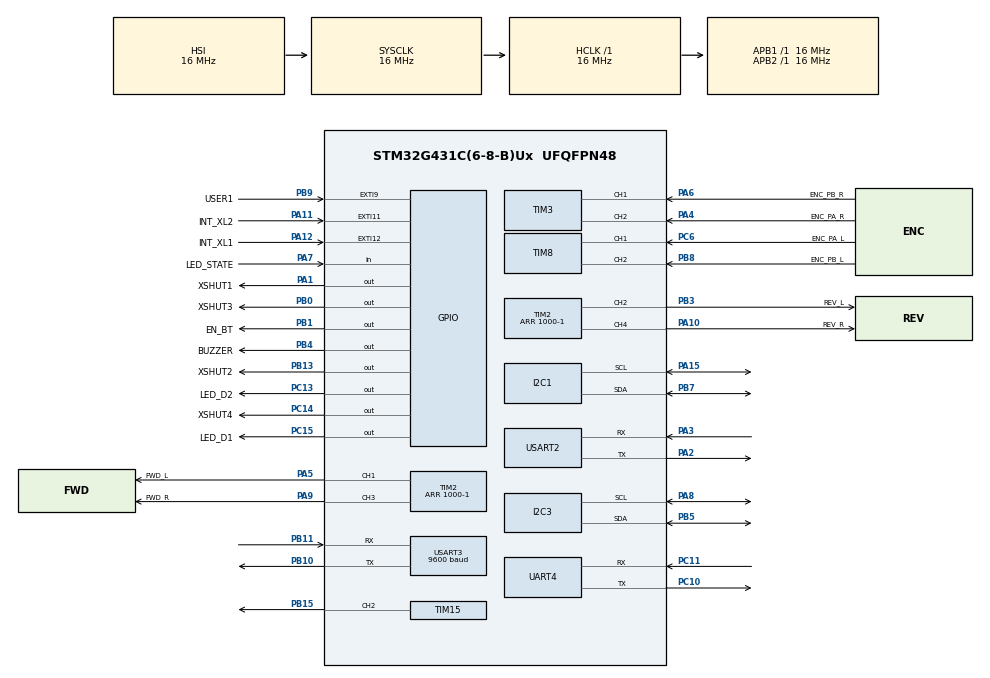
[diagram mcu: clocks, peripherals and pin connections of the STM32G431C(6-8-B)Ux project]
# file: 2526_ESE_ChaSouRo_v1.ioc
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Dma.I2C1_TX.1.Direction=DMA_MEMORY_TO_PERIPH
Dma.I2C1_TX.1.EventEnable=DISABLE
Dma.I2C1_TX.1.Instance=DMA1_Channel2
Dma.I2C1_TX.1.MemDataAlignment=DMA_MDATAALIGN_BYTE
Dma.I2C1_TX.1.MemInc=DMA_MINC_ENABLE
Dma.I2C1_TX.1.Mode=DMA_NORMAL
Dma.I2C1_TX.1.PeriphDataAlignment=DMA_PDATAALIGN_BYTE
Dma.I2C1_TX.1.PeriphInc=DMA_PINC_DISABLE
Dma.I2C1_TX.1.Polarity=HAL_DMAMUX_REQ_GEN_RISING
Dma.I2C1_TX.1.Priority=DMA_PRIORITY_LOW
Dma.I2C1_TX.1.RequestNumber=1
Dma.I2C1_TX.1.SignalID=NONE
Dma.I2C1_TX.1.SyncEnable=DISABLE
Dma.I2C1_TX.1.SyncPolarity=HAL_DMAMUX_SYNC_NO_EVENT
Dma.I2C1_TX.1.SyncRequestNumber=1
Dma.I2C1_TX.1.SyncSignalID=NONE
Dma.Request0=USART2_RX
Dma.Request1=I2C1_TX
Dma.Request2=USART3_TX
Dma.USART2_RX.0.Direction=DMA_PERIPH_TO_MEMORY
Dma.USART2_RX.0.EventEnable=DISABLE
Dma.USART2_RX.0.Instance=DMA1_Channel3
Dma.USART2_RX.0.MemDataAlignment=DMA_MDATAALIGN_BYTE
Dma.USART2_RX.0.MemInc=DMA_MINC_ENABLE
Dma.USART2_RX.0.Mode=DMA_CIRCULAR
Dma.USART2_RX.0.PeriphDataAlignment=DMA_PDATAALIGN_BYTE
Dma.USART2_RX.0.PeriphInc=DMA_PINC_DISABLE
Dma.USART2_RX.0.Polarity=HAL_DMAMUX_REQ_GEN_RISING
Dma.USART2_RX.0.Priority=DMA_PRIORITY_LOW
Dma.USART2_RX.0.RequestNumber=1
Dma.USART2_RX.0.SignalID=NONE
Dma.USART2_RX.0.SyncEnable=DISABLE
Dma.USART2_RX.0.SyncPolarity=HAL_DMAMUX_SYNC_NO_EVENT
Dma.USART2_RX.0.SyncRequestNumber=1
Dma.USART2_RX.0.SyncSignalID=NONE
Dma.USART3_TX.2.Direction=DMA_MEMORY_TO_PERIPH
Dma.USART3_TX.2.EventEnable=DISABLE
Dma.USART3_TX.2.Instance=DMA1_Channel1
Dma.USART3_TX.2.MemDataAlignment=DMA_MDATAALIGN_BYTE
Dma.USART3_TX.2.MemInc=DMA_MINC_ENABLE
Dma.USART3_TX.2.Mode=DMA_CIRCULAR
Dma.USART3_TX.2.PeriphDataAlignment=DMA_PDATAALIGN_BYTE
Dma.USART3_TX.2.PeriphInc=DMA_PINC_DISABLE
Dma.USART3_TX.2.Polarity=HAL_DMAMUX_REQ_GEN_RISING
Dma.USART3_TX.2.Priority=DMA_PRIORITY_LOW
Dma.USART3_TX.2.RequestNumber=1
Dma.USART3_TX.2.SignalID=NONE
Dma.USART3_TX.2.SyncEnable=DISABLE
Dma.USART3_TX.2.SyncPolarity=HAL_DMAMUX_SYNC_NO_EVENT
Dma.USART3_TX.2.SyncRequestNumber=1
Dma.USART3_TX.2.SyncSignalID=NONE
FREERTOS.INCLUDE_uxTaskGetStackHighWaterMark=1
FREERTOS.INCLUDE_uxTaskGetStackHighWaterMark2=1
FREERTOS.INCLUDE_vTaskDelayUntil=1
FREERTOS.Tasks01=defaultTask,0,128,StartDefaultTask,Default,NULL,Dynamic,NULL,NULL
FREERTOS.configCHECK_FOR_STACK_OVERFLOW=2
FREERTOS.configGENERATE_RUN_TIME_STATS=1
FREERTOS.configRECORD_STACK_HIGH_ADDRESS=1
FREERTOS.configTOTAL_HEAP_SIZE=25000
FREERTOS.configUSE_MALLOC_FAILED_HOOK=1
FREERTOS.configUSE_NEWLIB_REENTRANT=1
FREERTOS.configUSE_STATS_FORMATTING_FUNCTIONS=1
FREERTOS.configUSE_TRACE_FACILITY=1
I2C1.Timing=0x00503D58
I2C3.Timing=0x00503D58
Mcu.Family=STM32G4
Mcu.Name=STM32G431C(6-8-B)Ux
Mcu.Package=UFQFPN48
NVIC.DMA1_Channel1_IRQn=true\:5\:0\:false\:false\:true\:true\:false\:true\:true
NVIC.DMA1_Channel2_IRQn=true\:5\:0\:false\:false\:true\:true\:false\:true\:true
NVIC.DMA1_Channel3_IRQn=true\:5\:0\:false\:false\:true\:true\:false\:true\:true
NVIC.EXTI9_5_IRQn=true\:5\:0\:false\:false\:true\:true\:true\:true\:true
NVIC.PriorityGroup=NVIC_PRIORITYGROUP_4
NVIC.TIM1_TRG_COM_TIM17_IRQn=true\:5\:0\:true\:false\:true\:true\:true\:true\:true
NVIC.TIM6_DAC_IRQn=true\:15\:0\:true\:false\:true\:false\:false\:true\:true
NVIC.TimeBase=TIM6_DAC_IRQn
NVIC.TimeBaseIP=TIM6
NVIC.USART2_IRQn=true\:5\:0\:false\:false\:true\:true\:true\:true\:true
NVIC.USART3_IRQn=true\:5\:0\:false\:false\:true\:true\:true\:true\:true
PA1.GPIO_Label=XSHUT1
PA1.PinState=GPIO_PIN_SET
PA1.Signal=GPIO_Output
PA10.GPIO_Label=REV_R
PA10.Signal=S_TIM2_CH4
PA11.GPIO_Label=INT_XL2
PA11.Signal=GPXTI11
PA12.GPIO_Label=INT_XL1
PA12.Signal=GPXTI12
PA13.Mode=Serial_Wire
PA13.Signal=SYS_JTMS-SWDIO
PA14.Mode=Serial_Wire
PA14.Signal=SYS_JTCK-SWCLK
PA15.Mode=I2C
PA15.Signal=I2C1_SCL
PA2.Mode=Asynchronous
PA2.Signal=USART2_TX
PA3.Mode=Asynchronous
PA3.Signal=USART2_RX
PA4.GPIO_Label=ENC_PA_R
PA4.Signal=S_TIM3_CH2
PA5.GPIO_Label=FWD_L
PA5.Signal=S_TIM2_CH1
PA6.GPIO_Label=ENC_PB_R
PA6.Signal=S_TIM3_CH1
PA7.GPIO_Label=LED_STATE
PA7.Signal=GPIO_Input
PA8.Mode=I2C
PA8.Signal=I2C3_SCL
PA9.GPIO_Label=FWD_R
PA9.Signal=S_TIM2_CH3
PB0.GPIO_Label=XSHUT3
PB0.GPIO_PuPd=GPIO_PULLUP
PB0.PinState=GPIO_PIN_SET
PB0.Signal=GPIO_Output
PB1.GPIO_Label=EN_BT
PB1.Signal=GPIO_Output
PB10.Mode=Asynchronous
PB10.Signal=USART3_TX
PB11.Mode=Asynchronous
PB11.Signal=USART3_RX
PB13.GPIO_Label=XSHUT2
PB13.GPIO_PuPd=GPIO_PULLUP
PB13.PinState=GPIO_PIN_SET
PB13.Signal=GPIO_Output
PB15.Signal=S_TIM15_CH2
PB3.GPIO_Label=REV_L
PB3.Signal=S_TIM2_CH2
PB4.GPIO_Label=BUZZER
PB4.Signal=GPIO_Output
PB5.Mode=I2C
PB5.Signal=I2C3_SDA
PB7.Mode=I2C
PB7.Signal=I2C1_SDA
PB8-BOOT0.GPIO_Label=ENC_PB_L
PB8-BOOT0.Signal=S_TIM8_CH2
PB9.GPIO_Label=USER1
PB9.GPIO_ModeDefaultEXTI=GPIO_MODE_IT_FALLING
PB9.GPIO_PuPd=GPIO_NOPULL
PB9.Signal=GPXTI9
PC10.Mode=Asynchronous
PC10.Signal=UART4_TX
PC11.Mode=Asynchronous
PC11.Signal=UART4_RX
PC13.GPIO_Label=LED_D2
PC13.Signal=GPIO_Output
PC14-OSC32_IN.GPIO_Label=XSHUT4
PC14-OSC32_IN.GPIO_PuPd=GPIO_PULLUP
PC14-OSC32_IN.PinState=GPIO_PIN_SET
PC14-OSC32_IN.Signal=GPIO_Output
PC15-OSC32_OUT.GPIO_Label=LED_D1
PC15-OSC32_OUT.Signal=GPIO_Output
PC6.GPIO_Label=ENC_PA_L
PC6.Signal=S_TIM8_CH1
PF0-OSC_IN.Mode=HSE-External-Oscillator
PF0-OSC_IN.Signal=RCC_OSC_IN
PF1-OSC_OUT.Mode=HSE-External-Oscillator
PF1-OSC_OUT.Signal=RCC_OSC_OUT
ProjectManager.HeapSize=0x200
ProjectManager.StackSize=0x400
ProjectManager.TargetToolchain=STM32CubeIDE
RCC.AHBFreq_Value=16000000
RCC.APB1Freq_Value=16000000
RCC.APB1TimFreq_Value=16000000
RCC.APB2Freq_Value=16000000
RCC.APB2TimFreq_Value=16000000
RCC.CortexFreq_Value=16000000
RCC.EXTERNAL_CLOCK_VALUE=12288000
RCC.HCLKFreq_Value=16000000
RCC.HSE_VALUE=8000000
RCC.HSI48_VALUE=48000000
RCC.HSI_VALUE=16000000
RCC.LSE_VALUE=32768
RCC.SYSCLKFreq_VALUE=16000000
RCC.USBFreq_Value=64000000
RCC.VCOOutputFreq_Value=128000000
SH.S_TIM15_CH2.0=TIM15_CH2,PWM Generation2 CH2
SH.S_TIM2_CH1.0=TIM2_CH1,PWM Generation1 CH1
SH.S_TIM2_CH2.0=TIM2_CH2,PWM Generation2 CH2
SH.S_TIM2_CH3.0=TIM2_CH3,PWM Generation3 CH3
SH.S_TIM2_CH4.0=TIM2_CH4,PWM Generation4 CH4
SH.S_TIM3_CH1.0=TIM3_CH1,Encoder_Interface
SH.S_TIM3_CH2.0=TIM3_CH2,Encoder_Interface
SH.S_TIM8_CH1.0=TIM8_CH1,Encoder_Interface
SH.S_TIM8_CH2.0=TIM8_CH2,Encoder_Interface
TIM15.Channel-PWM\ Generation2\ CH2=TIM_CHANNEL_2
TIM15.PeriodNoDither=100-1
TIM15.Prescaler=160-1
TIM17.PeriodNoDither=10000-1
TIM17.Prescaler=160-1
TIM2.Channel-PWM\ Generation1\ CH1=TIM_CHANNEL_1
TIM2.Channel-PWM\ Generation2\ CH2=TIM_CHANNEL_2
TIM2.Channel-PWM\ Generation3\ CH3=TIM_CHANNEL_3
TIM2.Channel-PWM\ Generation4\ CH4=TIM_CHANNEL_4
TIM2.PeriodNoDither=1000-1
USART2.VirtualMode-Asynchronous=VM_ASYNC
USART3.BaudRate=9600
USART3.VirtualMode-Asynchronous=VM_ASYNC
VP_FREERTOS_VS_CMSIS_V1.Mode=CMSIS_V1
VP_SYS_VS_DBSignals.Mode=DisableDeadBatterySignals
VP_SYS_VS_tim6.Mode=TIM6
VP_TIM16_VS_ClockSourceINT.Mode=Enable_Timer
VP_TIM17_VS_ClockSourceINT.Mode=Enable_Timer
board=custom

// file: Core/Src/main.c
/* USER CODE BEGIN Header */
/**
 ******************************************************************************
 * @file           : main.c
 * @brief          : Main program body
 ******************************************************************************
 * @attention
 *
 * Copyright (c) 2025 STMicroelectronics.
 * All rights reserved.
 *
 * This software is licensed under terms that can be found in the LICENSE file
 * in the root directory of this software component.
 * If no LICENSE file comes with this software, it is provided AS-IS.
 *
 ******************************************************************************
 */
/* USER CODE END Header */
#include "main.h"
#include "cmsis_os.h"
#include "dma.h"
#include "i2c.h"
#include "tim.h"
#include "usart.h"
#include "gpio.h"

/* USER CODE BEGIN Includes */
#include <stdio.h>
#include "actuators/motor.h"
#include "actuators/encoder.h"
#include "ssd1306.h"
#include "ssd1306_fonts.h"
#include "sensors/accelerometer.h"
#include "actuators/control.h"
#include "actuators/behavior.h"
#include "sensors/tofs.h"
#include "bluetooth/bluetooth.h"
#include "sensors/lidar.h"
//#include "oled.h"
/* USER CODE END Includes */

/* USER CODE BEGIN PTD */
ADXL345_HandleTypeDef hadxl;
/* USER CODE END PTD */

/* USER CODE BEGIN PV */
h_hc05_t h_hc05 =
{
		.huart = &huart3
};
/* USER CODE END PV */

void SystemClock_Config(void);
void MX_FREERTOS_Init(void);

/* USER CODE BEGIN 0 */
//TERMINAL
int __io_putchar(int chr)
{
	HAL_UART_Transmit(&huart4, (uint8_t*) &chr, 1, HAL_MAX_DELAY);
	return chr;
}

//ANTI-REBOND
bool debounce_check(uint32_t *lastTick, TickType_t delay_ms)
{
	TickType_t now = xTaskGetTickCountFromISR();

	if ((now - *lastTick) < pdMS_TO_TICKS(delay_ms))
	{
		return false; // rebond, ignorer
	}
	*lastTick = now;
	return true; // action validée
}

//PROTECTION MEMOIRE
void vApplicationMallocFailedHook(void)
{
	printf("Malloc failed !\r\n"); //n'arrive pas à créé une task (pas de place)
	taskDISABLE_INTERRUPTS();
	for( ;; );
}

//PROTECTION MEMOIRE
void vApplicationStackOverflowHook(TaskHandle_t xTask, char *pcTaskName)
{
	printf("Stack overflow in task %s\r\n", pcTaskName); //Stack overflow
	taskDISABLE_INTERRUPTS();
	for( ;; );
}
/* USER CODE END 0 */

int main(void)
{

  /* MCU Configuration--------------------------------------------------------*/

  /* Reset of all peripherals, Initializes the Flash interface and the Systick. */
  HAL_Init();

  /* Configure the system clock */
  SystemClock_Config();

  /* Initialize all configured peripherals */
  MX_GPIO_Init();
  MX_DMA_Init();
  MX_I2C1_Init();
  MX_I2C3_Init();
  MX_TIM2_Init();
  MX_TIM3_Init();
  MX_TIM8_Init();
  MX_UART4_Init();
  MX_USART2_UART_Init();
  MX_USART3_UART_Init();
  MX_TIM16_Init();
  MX_TIM15_Init();
  MX_TIM17_Init();
  /* USER CODE BEGIN 2 */
	//INITS
	Init_motors();
//	LIDAR_Init();
	TOFs_Init();
	ENC_Init();
	ADXL345_Init(&hadxl, &hi2c1);
	Control_Init();
//	OLED_Init();

	//CREATION DES TASKS
	TOFs_Tasks_Create();
	Control_Tasks_Create();
	Motors_Tasks_Create();
	LIDAR_Tasks_Create();
	ENC_Tasks_Create();
	ADXL345_StartTasks(&hadxl);
	behavior_Tasks_Create();
	HC05_Tasks_Create(&h_hc05);
//	OLED_Tasks_Create();

	//LANCE LE SCHEDULER
	vTaskStartScheduler();

  /* USER CODE END 2 */

  /* Call init function for freertos objects (in cmsis_os2.c) */
  MX_FREERTOS_Init();

  /* Start scheduler */
  osKernelStart();

  /* We should never get here as control is now taken by the scheduler */

  /* Infinite loop */
	while (1)
	{

	}
}

void SystemClock_Config(void)
{
  RCC_OscInitTypeDef RCC_OscInitStruct = {0};
  RCC_ClkInitTypeDef RCC_ClkInitStruct = {0};

  /** Configure the main internal regulator output voltage
  */
  HAL_PWREx_ControlVoltageScaling(PWR_REGULATOR_VOLTAGE_SCALE1);

  /** Initializes the RCC Oscillators according to the specified parameters
  * in the RCC_OscInitTypeDef structure.
  */
  RCC_OscInitStruct.OscillatorType = RCC_OSCILLATORTYPE_HSI;
  RCC_OscInitStruct.HSIState = RCC_HSI_ON;
  RCC_OscInitStruct.HSICalibrationValue = RCC_HSICALIBRATION_DEFAULT;
  RCC_OscInitStruct.PLL.PLLState = RCC_PLL_NONE;
  if (HAL_RCC_OscConfig(&RCC_OscInitStruct) != HAL_OK)
  {
    Error_Handler();
  }

  /** Initializes the CPU, AHB and APB buses clocks
  */
  RCC_ClkInitStruct.ClockType = RCC_CLOCKTYPE_HCLK|RCC_CLOCKTYPE_SYSCLK
                              |RCC_CLOCKTYPE_PCLK1|RCC_CLOCKTYPE_PCLK2;
  RCC_ClkInitStruct.SYSCLKSource = RCC_SYSCLKSOURCE_HSI;
  RCC_ClkInitStruct.AHBCLKDivider = RCC_SYSCLK_DIV1;
  RCC_ClkInitStruct.APB1CLKDivider = RCC_HCLK_DIV1;
  RCC_ClkInitStruct.APB2CLKDivider = RCC_HCLK_DIV1;

  if (HAL_RCC_ClockConfig(&RCC_ClkInitStruct, FLASH_LATENCY_0) != HAL_OK)
  {
    Error_Handler();
  }
}

/* USER CODE BEGIN 4 */
//void HAL_GPIO_EXTI_Callback(uint16_t GPIO_Pin)
//{
//    static TickType_t lastTickUser1 = 0;
//    static uint8_t toggle = 1;
//
//    if (GPIO_Pin == USER1_Pin)
//    {
//        if (!debounce_check(&lastTickUser1, 200))
//            return; // Ignorer rebond
//        if(toggle){
//        	Control_MoveDistanceFromISR(1000);
//			toggle = 0;
//        }
//    }
//}

void HAL_UART_RxHalfCpltCallback(UART_HandleTypeDef *huart)
{
	BaseType_t xHigherPriorityTaskWoken = pdFALSE;

	if (huart == &LID_huartx)
	{
		vTaskNotifyGiveFromISR(htask_LIDAR_Update, &xHigherPriorityTaskWoken);
		portYIELD_FROM_ISR(xHigherPriorityTaskWoken);
	}
}

void HAL_UART_RxCpltCallback(UART_HandleTypeDef *huart)
{
	BaseType_t xHigherPriorityTaskWoken = pdFALSE;

	if (huart == &LID_huartx)
	{
		vTaskNotifyGiveFromISR(htask_LIDAR_Update, &xHigherPriorityTaskWoken);
		portYIELD_FROM_ISR(xHigherPriorityTaskWoken);
	}
	if (huart->Instance==USART3)
	{
		hc05_RX_callback(&h_hc05);
	}
}

/* USER CODE END 4 */

void HAL_TIM_PeriodElapsedCallback(TIM_HandleTypeDef *htim)
{
  if (htim->Instance == TIM6)
  {
    HAL_IncTick();
  }
  /* USER CODE BEGIN Callback 1 */

	//CODE DES CALLBACKS
	enc_HAL_TIM_PeriodElapsedCallback(htim);
  /* USER CODE END Callback 1 */
}

void Error_Handler(void)
{
  /* USER CODE BEGIN Error_Handler_Debug */
	/* User can add his own implementation to report the HAL error return state */
	__disable_irq();
	while (1)
	{
		HAL_GPIO_WritePin(GPIOC, LED_D1_Pin, GPIO_PIN_SET);
		HAL_GPIO_WritePin(GPIOC, LED_D2_Pin, GPIO_PIN_SET);
	}
  /* USER CODE END Error_Handler_Debug */
}

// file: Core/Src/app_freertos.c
/* USER CODE BEGIN Header */
/**
 ******************************************************************************
 * File Name          : app_freertos.c
 * Description        : Code for freertos applications
 ******************************************************************************
 * @attention
 *
 * Copyright (c) 2025 STMicroelectronics.
 * All rights reserved.
 *
 * This software is licensed under terms that can be found in the LICENSE file
 * in the root directory of this software component.
 * If no LICENSE file comes with this software, it is provided AS-IS.
 *
 ******************************************************************************
 */
/* USER CODE END Header */

#include "FreeRTOS.h"
#include "task.h"
#include "main.h"
#include "cmsis_os.h"

osThreadId defaultTaskHandle;

void StartDefaultTask(void const * argument);

void MX_FREERTOS_Init(void); /* (MISRA C 2004 rule 8.1) */

/* Hook prototypes */
void configureTimerForRunTimeStats(void);
unsigned long getRunTimeCounterValue(void);
void vApplicationStackOverflowHook(xTaskHandle xTask, signed char *pcTaskName);
void vApplicationMallocFailedHook(void);

/* USER CODE BEGIN 1 */
/* Functions needed when configGENERATE_RUN_TIME_STATS is on */
__weak void configureTimerForRunTimeStats(void)
{

}

__weak unsigned long getRunTimeCounterValue(void)
{
return 0;
}
/* USER CODE END 1 */

/* USER CODE BEGIN 4 */
__weak void vApplicationStackOverflowHook(xTaskHandle xTask, signed char *pcTaskName)
{
   /* Run time stack overflow checking is performed if
   configCHECK_FOR_STACK_OVERFLOW is defined to 1 or 2. This hook function is
   called if a stack overflow is detected. */
}
/* USER CODE END 4 */

/* USER CODE BEGIN 5 */
__weak void vApplicationMallocFailedHook(void)
{
   /* vApplicationMallocFailedHook() will only be called if
   configUSE_MALLOC_FAILED_HOOK is set to 1 in FreeRTOSConfig.h. It is a hook
   function that will get called if a call to pvPortMalloc() fails.
   pvPortMalloc() is called internally by the kernel whenever a task, queue,
   timer or semaphore is created. It is also called by various parts of the
   demo application. If heap_1.c or heap_2.c are used, then the size of the
   heap available to pvPortMalloc() is defined by configTOTAL_HEAP_SIZE in
   FreeRTOSConfig.h, and the xPortGetFreeHeapSize() API function can be used
   to query the size of free heap space that remains (although it does not
   provide information on how the remaining heap might be fragmented). */
}
/* USER CODE END 5 */

void MX_FREERTOS_Init(void) {

  /* Create the thread(s) */
  /* definition and creation of defaultTask */
  osThreadDef(defaultTask, StartDefaultTask, osPriorityNormal, 0, 128);
  defaultTaskHandle = osThreadCreate(osThread(defaultTask), NULL);

}

void StartDefaultTask(void const * argument)
{
	for(;;)
	{
		osDelay(1);
	}
}
